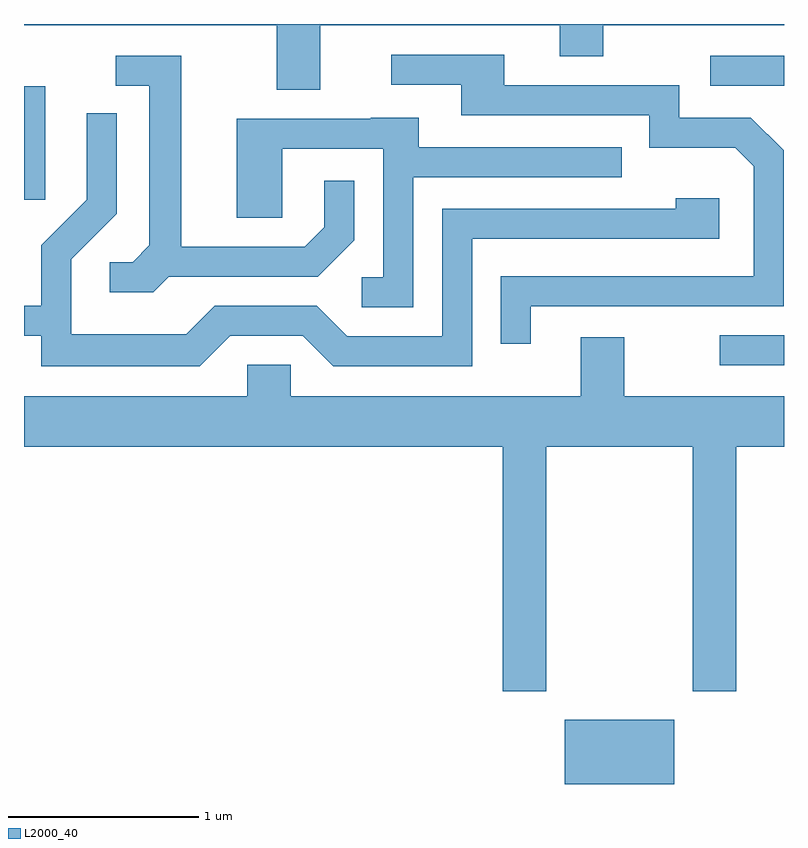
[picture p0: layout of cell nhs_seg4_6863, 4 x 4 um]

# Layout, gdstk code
import gdstk
lib = gdstk.Library(unit=1e-6, precision=1e-09)
def R(c, l, rs):  # rectangles x0, y0, x1, y1
    for r in rs: c.add(gdstk.rectangle(r[:2], r[2:], *l))
def P(c, l, *ps):  # polygons
    for p in ps: c.add(gdstk.Polygon(p, *l))
L2000_40 = (2000, 40)

nhs_seg4_6863 = lib.new_cell('nhs_seg4_6863')
R(nhs_seg4_6863, L2000_40, [(388.456,1383.982,389.034,1384.319), (389.273,1386.186,389.611,1386.344), (385.611,1387.056,385.724,1387.654), (389.223,1387.656,389.611,1387.814)])
P(nhs_seg4_6863, L2000_40, [(387.169,1387.976),(388.431,1387.976),(388.431,1387.811),(388.659,1387.811),(388.659,1387.976),(389.611,1387.976),(389.611,1387.982),(385.611,1387.982),(385.611,1387.976),(386.941,1387.976),(386.941,1387.636),(387.169,1387.636)],
  [(388.279,1386.496),(389.609,1386.496),(389.609,1387.317),(389.437,1387.489),(389.059,1387.489),(389.059,1387.659),(388.139,1387.659),(388.139,1387.819),(387.543,1387.819),(387.543,1387.661),(387.911,1387.661),(387.911,1387.501),(388.901,1387.501),(388.901,1387.331),(389.354,1387.331),(389.451,1387.234),(389.451,1386.654),(388.121,1386.654),(388.121,1386.298),(388.279,1386.298)],
  [(386.372,1386.651),(387.157,1386.651),(387.349,1386.844),(387.349,1387.158),(387.191,1387.158),(387.191,1386.912),(387.089,1386.809),(386.439,1386.809),(386.439,1387.814),(386.093,1387.814),(386.093,1387.656),(386.271,1387.656),(386.271,1386.817),(386.184,1386.729),(386.063,1386.729),(386.063,1386.571),(386.292,1386.571)],
  [(386.697,1386.341),(387.079,1386.341),(387.239,1386.181),(387.969,1386.181),(387.969,1386.851),(389.269,1386.851),(389.269,1387.064),(389.041,1387.064),(389.041,1387.009),(387.811,1387.009),(387.811,1386.339),(387.312,1386.339),(387.152,1386.499),(386.614,1386.499),(386.464,1386.349),(385.859,1386.349),(385.859,1386.744),(386.099,1386.984),(386.099,1387.513),(385.941,1387.513),(385.941,1387.057),(385.701,1386.817),(385.701,1386.499),(385.611,1386.499),(385.611,1386.341),(385.701,1386.341),(385.701,1386.181),(386.537,1386.181)],
  [(387.659,1387.176),(388.758,1387.176),(388.758,1387.334),(387.689,1387.334),(387.689,1387.489),(387.435,1387.489),(387.435,1387.484),(386.731,1387.484),(386.731,1386.961),(386.969,1386.961),(386.969,1387.326),(387.501,1387.326),(387.501,1386.649),(387.388,1386.649),(387.388,1386.491),(387.659,1386.491)],
  [(388.359,1385.756),(389.131,1385.756),(389.131,1384.471),(389.359,1384.471),(389.359,1385.756),(389.611,1385.756),(389.611,1386.024),(388.769,1386.024),(388.769,1386.334),(388.541,1386.334),(388.541,1386.024),(387.014,1386.024),(387.014,1386.189),(386.786,1386.189),(386.786,1386.024),(385.611,1386.024),(385.611,1385.756),(388.131,1385.756),(388.131,1384.471),(388.359,1384.471)])

lib.write_gds('nhs_seg4_6863.gds')
